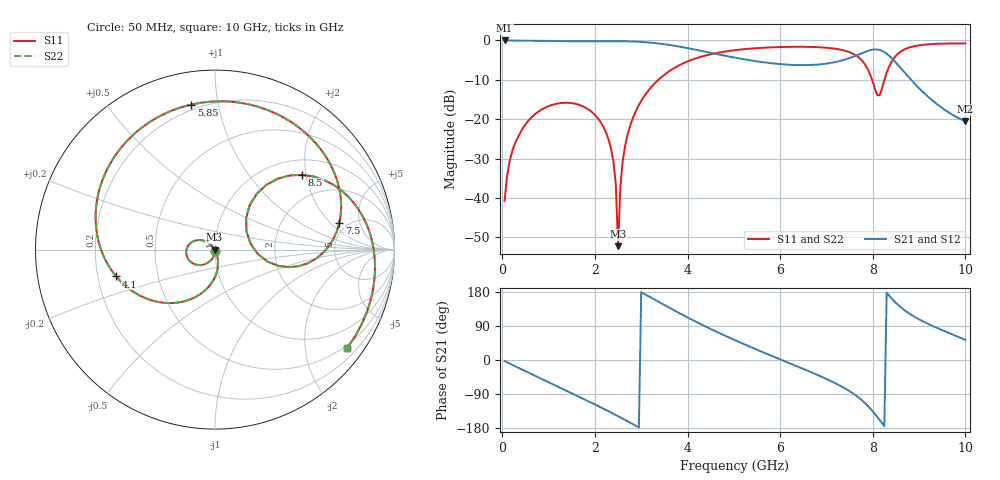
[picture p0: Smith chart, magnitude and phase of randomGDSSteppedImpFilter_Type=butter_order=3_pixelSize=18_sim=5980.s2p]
! freq	dB(S11)	phase(S11)	dB(S12)	phase(S12)
!  dB(S21)	phase(S21)	dB(S22)	phase(S22)
!S-par simulation data
#  GHz  S  DB  R 50
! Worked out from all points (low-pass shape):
!   200 points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, 50 MHz to 10 GHz, reference 50 ohm
!   highest |S21| = 0.00 dB at 50 MHz (marker M1); lowest = -20.5 dB at 10 GHz (marker M2)
!   |S21| within 3 dB of the highest: start of sweep to 4.445 GHz; 7.815 GHz to 8.256 GHz (441.4 MHz wide, 5.49 % of centre)
!   lowest |S11| = -52.2 dB at 2.5 GHz (marker M3), VSWR 1.00, Z = 49.8 - j0.0203 ohm
!   |S11| at or under -10 dB: start of sweep to 3.37 GHz; 7.985 GHz to 8.251 GHz (266 MHz wide, 3.28 % of centre)
!   |S22| runs from -51.7 to -0.7 dB; largest |S21 - S12| = 0
!   S11 on the Smith chart (normalised r, x): 50 MHz: 1.00, -0.02; 4.1 GHz: 0.28, -0.12; 5.85 GHz: 0.17, +0.84; 7.5 GHz: 4.29, +2.54; 8.5 GHz: 1.35, +1.90; 10 GHz: 0.43, -2.97
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0.05  -40.70 -92.4  -0.00 -3.0  -0.00 -3.0  -40.70 -92.4
0.2  -28.73 -101.1  -0.03 -11.9  -0.03 -11.9  -28.73 -101.1
0.55  -20.55 -123.0  -0.09 -32.4  -0.09 -32.4  -20.55 -123.0
1.15  -16.13 -157.8  -0.19 -67.2  -0.19 -67.2  -16.13 -157.8
1.75  -16.78 167.3  -0.21 -102.2  -0.21 -102.2  -16.78 167.4
2.35  -27.56 133.0  -0.18 -138.8  -0.18 -138.8  -27.56 133.2
2.45  -36.22 131.9  -0.18 -145.1  -0.18 -145.1  -36.22 132.6
2.5  -52.22 -175.2  -0.18 -148.3  -0.18 -148.3  -51.74 -173.1
2.55  -37.09 -72.2  -0.19 -151.5  -0.19 -151.5  -37.06 -72.9
2.7  -24.17 -74.5  -0.22 -161.3  -0.22 -161.3  -24.17 -74.7
3.4  -9.67 -119.6  -0.80 151.8  -0.80 151.8  -9.67 -119.6
4.1  -4.87 -164.8  -2.17 106.0  -2.17 106.0  -4.87 -164.8
5.05  -2.43 140.5  -4.43 50.9  -4.43 50.9  -2.43 140.5
5.85  -1.74 99.2  -5.84 9.3  -5.84 9.3  -1.74 99.3
6.7  -1.66 56.7  -6.21 -33.9  -6.21 -33.9  -1.66 56.7
7.5  -3.00 12.0  -4.46 -82.3  -4.46 -82.3  -3.00 12.1
7.85  -6.42 -11.1  -2.84 -115.7  -2.84 -115.7  -6.42 -11.1
8.1  -13.94 9.5  -2.31 -150.5  -2.31 -150.5  -13.98 9.5
8.35  -6.71 51.5  -3.85 170.4  -3.85 170.4  -6.71 51.6
8.5  -3.89 40.6  -5.66 150.7  -5.66 150.7  -3.89 40.8
9.05  -1.16 3.5  -12.72 104.0  -12.72 104.0  -1.16 3.6
10  -0.75 -36.6  -20.50 53.0  -20.50 53.0  -0.75 -36.5
